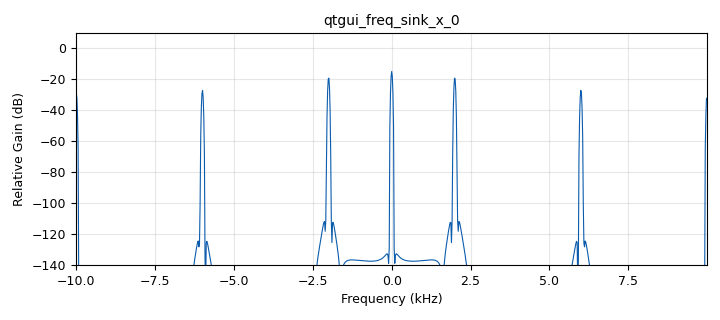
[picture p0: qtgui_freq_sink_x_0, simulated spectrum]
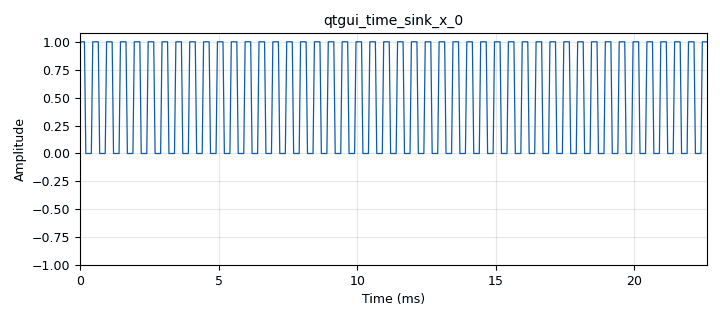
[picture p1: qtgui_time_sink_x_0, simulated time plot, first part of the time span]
options:
  parameters:
    generate_options: qt_gui
    id: PruebaSeno
    output_language: python
    title: PruebaSeno
  states: {}

blocks:
- name: A
  id: variable_qtgui_range
  parameters:
    orient: Qt.Horizontal
    start: '0'
    step: '1'
    stop: '25'
    value: '1'
  states: {}
- name: samp_rate
  id: variable
  parameters:
    value: '20000'
  states: {}
- name: CalculoPotenciaComunicaciones_0
  id: CalculoPotenciaComunicaciones
  parameters:
    l_vector: '1024'
  states: {}
- name: analog_sig_source_x_0
  id: analog_sig_source_x
  parameters:
    amp: A
    freq: '2000'
    offset: '0'
    phase: '0'
    samp_rate: samp_rate
    type: float
    waveform: analog.GR_SQR_WAVE
  states: {}
- name: qtgui_freq_sink_x_0
  id: qtgui_freq_sink_x
  parameters:
    bw: samp_rate
    fc: '0'
    fftsize: '1024'
    type: float
    wintype: firdes.WIN_BLACKMAN_hARRIS
  states: {}
- name: qtgui_time_sink_x_0
  id: qtgui_time_sink_x
  parameters:
    size: '1024'
    srate: samp_rate
    type: float
  states: {}

connections:
- [analog_sig_source_x_0, '0', CalculoPotenciaComunicaciones_0, '0']
- [analog_sig_source_x_0, '0', qtgui_freq_sink_x_0, '0']
- [analog_sig_source_x_0, '0', qtgui_time_sink_x_0, '0']

metadata:
  file_format: 1
